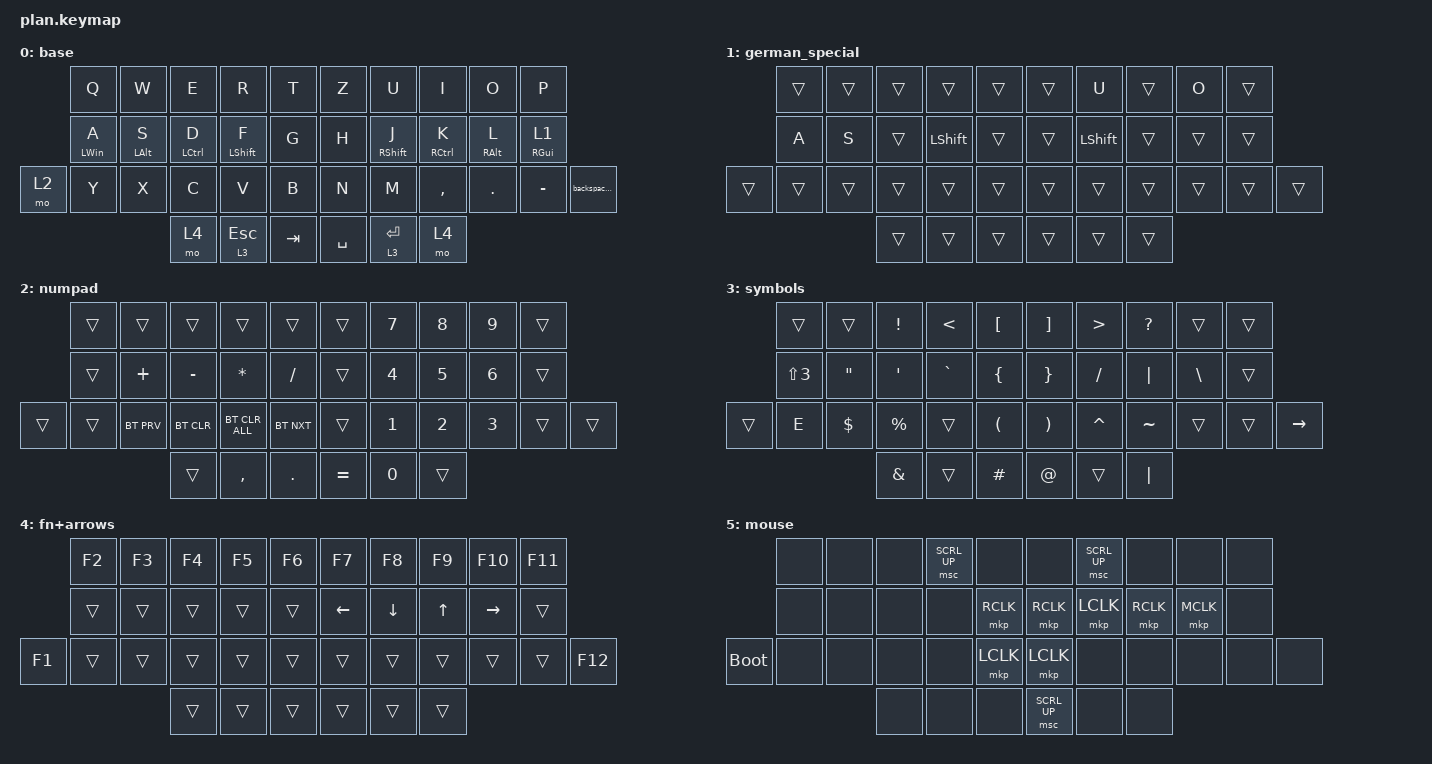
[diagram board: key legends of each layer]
#include <behaviors.dtsi>
#include <dt-bindings/zmk/bt.h>
#include <dt-bindings/zmk/keys.h>
#include <dt-bindings/zmk/pointing.h>

/ {
    behaviors {
        backspacedelete: backspacedelete {
            compatible = "zmk,behavior-mod-morph";
            label = "BACKSPACEDELETE";
            bindings = <&kp BACKSPACE>, <&kp DELETE>;

            #binding-cells = <0>;
            mods = <(MOD_RSFT|MOD_LSFT)>;
        };

        rgui_uml: rgui_uml {
            compatible = "zmk,behavior-hold-tap";
            label = "RGUI_UML";
            bindings = <&kp>, <&sl>;

            #binding-cells = <2>;
            tapping-term-ms = <200>;
        };
    };

    combos {
        compatible = "zmk,combos";

        activate_mouse {
            bindings = <&tog 5>;
            key-positions = <35 34>;
        };
    };

    keymap {
        compatible = "zmk,keymap";

        base {
            bindings = <
       &kp Q           &kp W           &kp E        &kp R        &kp T      &kp Z      &kp U        &kp I        &kp O            &kp P
       &mt LEFT_WIN A  &mt LEFT_ALT S  &mt LCTRL D  &mt LSHFT F  &kp G      &kp H      &mt RSHFT J  &mt RCTRL K  &mt RIGHT_ALT L  &rgui_uml RIGHT_GUI 1
&mo 2  &kp Y           &kp X           &kp C        &kp V        &kp B      &kp N      &kp M        &kp COMMA    &kp DOT          &kp MINUS              &backspacedelete
                                       &mo 4        &lt 3 ESC    &kp TAB    &kp SPACE  &lt 3 ENTER  &mo 4
            >;
        };

        german_special {
            bindings = <
        &trans  &trans  &trans  &trans          &trans    &trans  &kp U           &trans  &kp O   &trans
        &kp A   &kp S   &trans  &kp LEFT_SHIFT  &trans    &trans  &kp LEFT_SHIFT  &trans  &trans  &trans
&trans  &trans  &trans  &trans  &trans          &trans    &trans  &trans          &trans  &trans  &trans  &trans
                        &trans  &trans          &trans    &trans  &trans          &trans
            >;
        };

        numpad {
            bindings = <
        &trans  &trans      &trans      &trans          &trans        &trans     &kp N7  &kp N8  &kp N9  &trans
        &trans  &kp PLUS    &kp MINUS   &kp ASTERISK    &kp SLASH     &trans     &kp N4  &kp N5  &kp N6  &trans
&trans  &trans  &bt BT_PRV  &bt BT_CLR  &bt BT_CLR_ALL  &bt BT_NXT    &trans     &kp N1  &kp N2  &kp N3  &trans  &trans
                            &trans      &kp COMMA       &kp DOT       &kp EQUAL  &kp N0  &trans
            >;
        };

        symbols {
            bindings = <
        &trans            &trans             &kp EXCLAMATION   &kp LESS_THAN  &kp LEFT_BRACKET        &kp RIGHT_BRACKET      &kp GREATER_THAN  &kp QUESTION  &trans         &trans
        &kp LS(NUMBER_3)  &kp DOUBLE_QUOTES  &kp SINGLE_QUOTE  &kp GRAVE      &kp LEFT_BRACE          &kp RIGHT_BRACE        &kp SLASH         &kp PIPE      &kp BACKSLASH  &trans
&trans  &kp E             &kp DOLLAR         &kp PERCENT       &trans         &kp LEFT_PARENTHESIS    &kp RIGHT_PARENTHESIS  &kp CARET         &kp TILDE     &trans         &trans  &kp RIGHT_ARROW
                                             &kp AMPERSAND     &trans         &kp HASH                &kp AT                 &trans            &kp PIPE
            >;
        };

        fn+arrows {
            bindings = <
        &kp F2  &kp F3  &kp F4  &kp F5  &kp F6    &kp F7    &kp F8    &kp F9  &kp F10    &kp F11
        &trans  &trans  &trans  &trans  &trans    &kp LEFT  &kp DOWN  &kp UP  &kp RIGHT  &trans
&kp F1  &trans  &trans  &trans  &trans  &trans    &trans    &trans    &trans  &trans     &trans   &kp F12
                        &trans  &trans  &trans    &trans    &trans    &trans
            >;
        };

        mouse {
            bindings = <
             &none  &none  &none  &msc SCRL_UP  &none        &none         &msc SCRL_UP  &none      &none      &none
             &none  &none  &none  &none         &mkp RCLK    &mkp RCLK     &mkp LCLK     &mkp RCLK  &mkp MCLK  &none
&bootloader  &none  &none  &none  &none         &mkp LCLK    &mkp LCLK     &none         &none      &none      &none  &none
                           &none  &none         &none        &msc SCRL_UP  &none         &none
            >;
        };
    };
};
